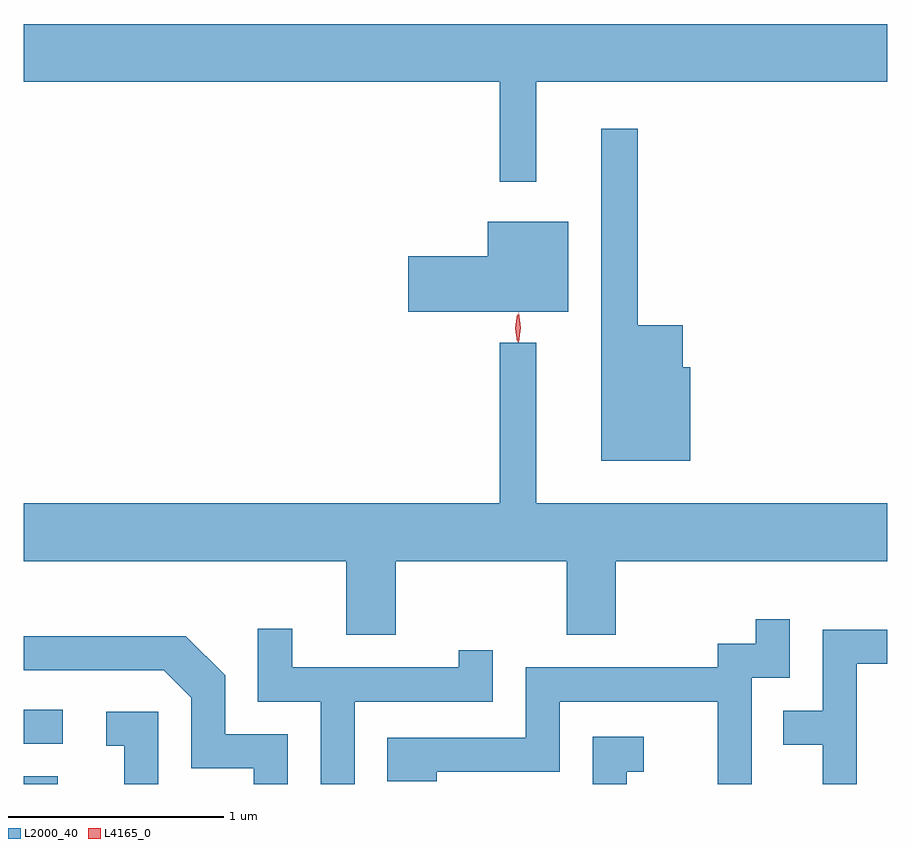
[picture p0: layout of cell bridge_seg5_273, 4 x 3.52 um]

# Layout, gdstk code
import gdstk
lib = gdstk.Library(unit=1e-6, precision=1e-09)
def R(c, l, rs):  # rectangles x0, y0, x1, y1
    for r in rs: c.add(gdstk.rectangle(r[:2], r[2:], *l))
def P(c, l, *ps):  # polygons
    for p in ps: c.add(gdstk.Polygon(p, *l))
L2000_40 = (2000, 40)
L4165_0 = (4165, 0)

bridge_seg5_273 = lib.new_cell('bridge_seg5_273')
R(bridge_seg5_273, L2000_40, [(807.366,1513.484,807.524,1513.519), (807.366,1513.671,807.548,1513.829)])
P(bridge_seg5_273, L2000_40, [(809.739,1516.736),(811.366,1516.736),(811.366,1517.004),(807.366,1517.004),(807.366,1516.736),(809.571,1516.736),(809.571,1516.273),(809.739,1516.273)],
  [(810.454,1515.414),(810.419,1515.414),(810.419,1515.609),(810.209,1515.609),(810.209,1516.518),(810.041,1516.518),(810.041,1514.981),(810.454,1514.981)],
  [(809.889,1516.089),(809.516,1516.089),(809.516,1515.929),(809.146,1515.929),(809.146,1515.671),(809.889,1515.671)],
  [(809.089,1514.516),(809.881,1514.516),(809.881,1514.176),(810.109,1514.176),(810.109,1514.516),(811.366,1514.516),(811.366,1514.784),(809.739,1514.784),(809.739,1515.528),(809.571,1515.528),(809.571,1514.784),(807.366,1514.784),(807.366,1514.516),(808.861,1514.516),(808.861,1514.176),(809.089,1514.176)],
  [(810.739,1513.976),(810.914,1513.976),(810.914,1514.248),(810.756,1514.248),(810.756,1514.134),(810.581,1514.134),(810.581,1514.024),(809.691,1514.024),(809.691,1513.699),(809.051,1513.699),(809.051,1513.496),(809.279,1513.496),(809.279,1513.541),(809.849,1513.541),(809.849,1513.866),(810.581,1513.866),(810.581,1513.484),(810.739,1513.484)],
  [(808.899,1513.866),(809.539,1513.866),(809.539,1514.103),(809.381,1514.103),(809.381,1514.024),(808.609,1514.024),(808.609,1514.203),(808.451,1514.203),(808.451,1513.866),(808.741,1513.866),(808.741,1513.484),(808.899,1513.484)],
  [(811.224,1514.041),(811.366,1514.041),(811.366,1514.199),(811.066,1514.199),(811.066,1513.824),(810.883,1513.824),(810.883,1513.666),(811.066,1513.666),(811.066,1513.484),(811.224,1513.484)],
  [(808.589,1513.714),(808.299,1513.714),(808.299,1513.987),(808.117,1514.169),(807.366,1514.169),(807.366,1514.011),(808.014,1514.011),(808.141,1513.884),(808.141,1513.556),(808.431,1513.556),(808.431,1513.484),(808.589,1513.484)],
  [(807.989,1513.819),(807.748,1513.819),(807.748,1513.661),(807.831,1513.661),(807.831,1513.484),(807.989,1513.484)],
  [(810.159,1513.541),(810.238,1513.541),(810.238,1513.704),(810.001,1513.704),(810.001,1513.484),(810.159,1513.484)])
P(bridge_seg5_273, L4165_0, [(809.657,1515.53),(809.649,1515.598),(809.659,1515.666),(809.66,1515.666),(809.66,1515.666),(809.669,1515.598),(809.658,1515.53),(809.658,1515.53)],
  [(809.652,1515.533),(809.643,1515.596),(809.652,1515.659),(809.653,1515.66),(809.653,1515.659),(809.663,1515.596),(809.653,1515.533),(809.653,1515.533)])

lib.write_gds('bridge_seg5_273.gds')
